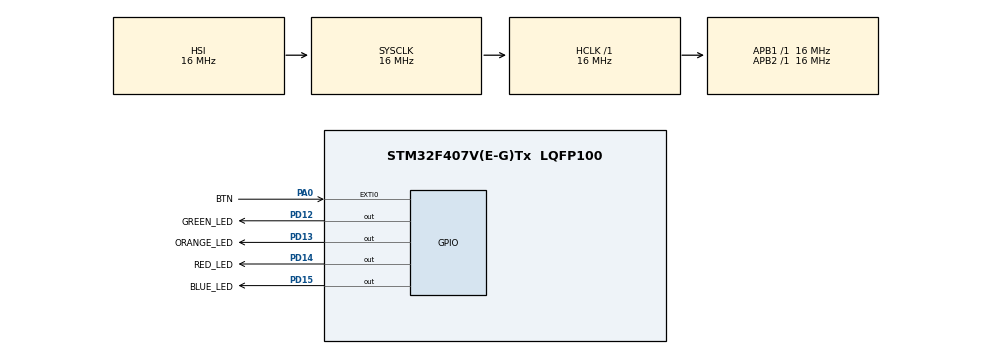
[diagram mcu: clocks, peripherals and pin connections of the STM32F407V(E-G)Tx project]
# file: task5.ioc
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Dma.Request0=TIM1_UP
Dma.TIM1_UP.0.Direction=DMA_MEMORY_TO_PERIPH
Dma.TIM1_UP.0.FIFOMode=DMA_FIFOMODE_DISABLE
Dma.TIM1_UP.0.Instance=DMA2_Stream5
Dma.TIM1_UP.0.MemDataAlignment=DMA_MDATAALIGN_WORD
Dma.TIM1_UP.0.MemInc=DMA_MINC_ENABLE
Dma.TIM1_UP.0.Mode=DMA_CIRCULAR
Dma.TIM1_UP.0.PeriphDataAlignment=DMA_PDATAALIGN_WORD
Dma.TIM1_UP.0.PeriphInc=DMA_PINC_DISABLE
Dma.TIM1_UP.0.Priority=DMA_PRIORITY_LOW
Mcu.Family=STM32F4
Mcu.Name=STM32F407V(E-G)Tx
Mcu.Package=LQFP100
NVIC.DMA2_Stream5_IRQn=true\:0\:0\:false\:true\:true\:1\:false\:true\:true
NVIC.EXTI0_IRQn=true\:0\:0\:false\:true\:true\:2\:true\:true\:true
NVIC.PriorityGroup=NVIC_PRIORITYGROUP_4
NVIC.TIM1_UP_TIM10_IRQn=true\:0\:0\:false\:true\:true\:3\:true\:true\:true
PA0-WKUP.GPIO_Label=BTN
PA0-WKUP.Signal=GPXTI0
PD12.GPIO_Label=GREEN_LED
PD12.Signal=GPIO_Output
PD13.GPIO_Label=ORANGE_LED
PD13.Signal=GPIO_Output
PD14.GPIO_Label=RED_LED
PD14.Signal=GPIO_Output
PD15.GPIO_Label=BLUE_LED
PD15.Signal=GPIO_Output
ProjectManager.HeapSize=0x200
ProjectManager.StackSize=0x400
ProjectManager.TargetToolchain=Makefile
RCC.AHBFreq_Value=16000000
RCC.APB1Freq_Value=16000000
RCC.APB2Freq_Value=16000000
RCC.CortexFreq_Value=16000000
RCC.HSE_VALUE=25000000
RCC.HSI_VALUE=16000000
RCC.LSE_VALUE=32768
RCC.SYSCLKFreq_VALUE=16000000
RCC.VCOOutputFreq_Value=192000000
TIM1.Period=800-1
TIM1.Prescaler=10000-1
TIM1.TIM_MasterOutputTrigger=TIM_TRGO_UPDATE
TIM1.TIM_MasterSlaveMode=TIM_MASTERSLAVEMODE_ENABLE
VP_TIM1_VS_ClockSourceINT.Mode=Internal
board=custom

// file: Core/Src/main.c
/* USER CODE BEGIN Header */
/**
 ******************************************************************************
 * @file           : main.c
 * @brief          : Main program body
 ******************************************************************************
 * @attention = HAL_DMA_Trf_Cplt ;
 *
 * Copyright (c) 2025 STMicroelectronics.
 * All rights reserved.
 *
 * This software is licensed under terms that can be found in the LICENSE file
 * in the root directory of this software component.
 * If no LICENSE file comes with this software, it is provided AS-IS.
 *
 ******************************************************************************
 */
/* USER CODE END Header */
#include "main.h"
#include "dma.h"
#include "gpio.h"
#include "tim.h"

/* USER CODE BEGIN PV */
#define DMA_STAR_STATE 0
#define DMA_PAUSE_STATE 1
extern DMA_HandleTypeDef hdma_tim1_up;
// uint16_t sequence[8] = {0x1, 0x3, 0x6, 0xE, 0xC, 0x8, 0x9, 0x0};
uint32_t sequence[8] = {
    (0x1 << 15), // 0x1000: BLUE (PD15)
    (0x3 << 14), // 0x3000: red (PD14) + blue (PD15)
    (0x6 << 12), // 0x6000: Orange (PD13) + Red (PD14)
    (0xE << 11), // 0xE000: Green (PD12) + Orange (PD13) + Red (PD14)
    (0xC << 10), // 0xC000: Green (PD12) + Orange (PD13)
    (0x8 << 9),  // 0x8000: Green (PD12)
    (0x9 << 12), // 0x9000: Green (PD12) + blue (PD15)
    (0x0 << 15)  // 0x0000: All off
};
volatile uint8_t transferIndex = 0;
volatile uint8_t systemState = 0;
volatile uint8_t dmaStopped = 0;
/* USER CODE END PV */

void SystemClock_Config(void);
static void MX_NVIC_Init(void);

/* USER CODE BEGIN 0 */
// void HAL_TIM_PeriodElapsedCallback(TIM_HandleTypeDef* htim)
// {
//     // HAL_GPIO_TogglePin(GPIOD, GREEN_LED_Pin);
// }
void HAL_DMA_XferCpltCallback(DMA_HandleTypeDef* hdma)
{
    if (dmaStopped)
    {
        __HAL_DMA_DISABLE(&hdma_tim1_up);
        hdma_tim1_up.Instance->M0AR =(uint32_t)&sequence[0];
        hdma_tim1_up.Instance->PAR =(uint32_t)&GPIOD->ODR;
        hdma_tim1_up.Instance->NDTR = 8;
        __HAL_DMA_ENABLE(&hdma_tim1_up);
        dmaStopped = 0;
    }
}
// HAL_GPIO_TogglePin(GPIOD, GPIO_PIN_12);

void HAL_GPIO_EXTI_Callback(uint16_t GPIO_Pin)
{
    if (GPIO_Pin == BTN_Pin)
    {
        NVIC_DisableIRQ(EXTI0_IRQn);
        if (systemState == DMA_STAR_STATE)
        {
            transferIndex = 7 - hdma_tim1_up.Instance->NDTR;
            dmaStopped = 1;
            HAL_DMA_Abort_IT(&hdma_tim1_up);

            // __HAL_DMA_GET_COUNTER
            systemState = DMA_PAUSE_STATE;
        }
        else if (systemState == DMA_PAUSE_STATE)
        {

            __HAL_DMA_DISABLE(&hdma_tim1_up);
            hdma_tim1_up.Instance->M0AR = (uint32_t)&sequence[transferIndex];
            hdma_tim1_up.Instance->PAR = (uint32_t)&GPIOD->ODR;
            hdma_tim1_up.Instance->NDTR = 8 - transferIndex;
            __HAL_DMA_ENABLE(&hdma_tim1_up);

            systemState = DMA_STAR_STATE;
        }
        else
        {
            // nothing to do
        }
        NVIC_EnableIRQ(EXTI0_IRQn);
    }
}
/* USER CODE END 0 */

int main(void)
{

    /* MCU
     * Configuration--------------------------------------------------------*/

    /* Reset of all peripherals, Initializes the Flash interface and the
     * Systick. */
    HAL_Init();

    /* Configure the system clock */
    SystemClock_Config();

    /* Initialize all configured peripherals */
    MX_GPIO_Init();
    MX_DMA_Init();
    MX_TIM1_Init();

    /* Initialize interrupts */
    MX_NVIC_Init();
    /* USER CODE BEGIN 2 */
    __HAL_TIM_ENABLE_DMA(&htim1, TIM_DMA_UPDATE);
    hdma_tim1_up.XferCpltCallback = HAL_DMA_XferCpltCallback;
    HAL_DMA_Start_IT(&hdma_tim1_up, (uint32_t)&sequence[0],
                     (uint32_t)&GPIOD->ODR, 8);

    HAL_TIM_Base_Start(&htim1);

    /* USER CODE END 2 */

    /* Infinite loop */
    while (1)
    {

    }
}

void SystemClock_Config(void)
{
    RCC_OscInitTypeDef RCC_OscInitStruct = {0};
    RCC_ClkInitTypeDef RCC_ClkInitStruct = {0};

    /** Configure the main internal regulator output voltage
     */
    __HAL_RCC_PWR_CLK_ENABLE();
    __HAL_PWR_VOLTAGESCALING_CONFIG(PWR_REGULATOR_VOLTAGE_SCALE1);

    /** Initializes the RCC Oscillators according to the specified parameters
     * in the RCC_OscInitTypeDef structure.
     */
    RCC_OscInitStruct.OscillatorType = RCC_OSCILLATORTYPE_HSI;
    RCC_OscInitStruct.HSIState = RCC_HSI_ON;
    RCC_OscInitStruct.HSICalibrationValue = RCC_HSICALIBRATION_DEFAULT;
    RCC_OscInitStruct.PLL.PLLState = RCC_PLL_NONE;
    if (HAL_RCC_OscConfig(&RCC_OscInitStruct) != HAL_OK)
    {
        Error_Handler();
    }

    /** Initializes the CPU, AHB and APB buses clocks
     */
    RCC_ClkInitStruct.ClockType = RCC_CLOCKTYPE_HCLK | RCC_CLOCKTYPE_SYSCLK |
                                  RCC_CLOCKTYPE_PCLK1 | RCC_CLOCKTYPE_PCLK2;
    RCC_ClkInitStruct.SYSCLKSource = RCC_SYSCLKSOURCE_HSI;
    RCC_ClkInitStruct.AHBCLKDivider = RCC_SYSCLK_DIV1;
    RCC_ClkInitStruct.APB1CLKDivider = RCC_HCLK_DIV1;
    RCC_ClkInitStruct.APB2CLKDivider = RCC_HCLK_DIV1;

    if (HAL_RCC_ClockConfig(&RCC_ClkInitStruct, FLASH_LATENCY_0) != HAL_OK)
    {
        Error_Handler();
    }
}

/**
 * @brief NVIC Configuration.
 * @retval None
 */
static void MX_NVIC_Init(void)
{
    /* DMA2_Stream5_IRQn interrupt configuration */
    HAL_NVIC_SetPriority(DMA2_Stream5_IRQn, 0, 0);
    HAL_NVIC_EnableIRQ(DMA2_Stream5_IRQn);
    /* EXTI0_IRQn interrupt configuration */
    HAL_NVIC_SetPriority(EXTI0_IRQn, 0, 0);
    HAL_NVIC_EnableIRQ(EXTI0_IRQn);
    /* TIM1_UP_TIM10_IRQn interrupt configuration */
    // REMOVED
}

void Error_Handler(void)
{
    /* USER CODE BEGIN Error_Handler_Debug */
    /* User can add his own implementation to report the HAL error return
     * state
     */
    __disable_irq();
    while (1)
    {
    }
    /* USER CODE END Error_Handler_Debug */
}

#ifdef USE_FULL_ASSERT
/**
 * @brief  Reports the name of the source file and the source line number
 *         where the assert_param error has occurred.
 * @param  file: pointer to the source file name
 * @param  line: assert_param error line source number
 * @retval None
 */
void assert_failed(uint8_t* file, uint32_t line)
{
    /* USER CODE BEGIN 6 */
    /* User can add his own implementation to report the file name and line
       number, ex: printf("Wrong parameters value: file %s on line %d\r\n",
       file, line) */
    /* USER CODE END 6 */
}
#endif /* USE_FULL_ASSERT */
